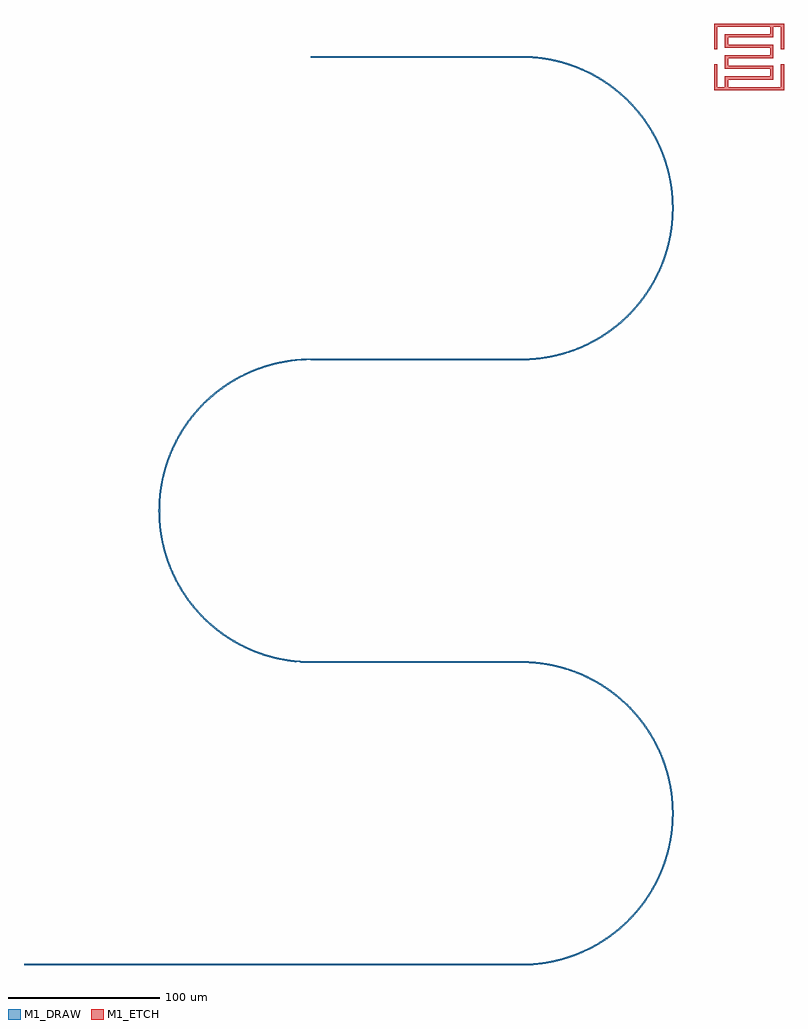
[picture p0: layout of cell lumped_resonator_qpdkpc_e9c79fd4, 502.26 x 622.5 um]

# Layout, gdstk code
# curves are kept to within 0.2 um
from math import pi, radians
import gdstk
lib = gdstk.Library(unit=1e-6, precision=1e-09)
def R(c, l, rs):  # rectangles x0, y0, x1, y1
    for r in rs: c.add(gdstk.rectangle(r[:2], r[2:], *l))
def P(c, l, *ps):  # polygons
    for p in ps: c.add(gdstk.Polygon(p, *l))
M1_DRAW = (1, 0)
M1_ETCH = (1, 1)

straight_l139p38075_csm_ = lib.new_cell('straight_L139p38075_CSm_7ea7f40c')
R(straight_l139p38075_csm_, M1_DRAW, [(0,-0.5,139.381,0.5)])

bend_circular_csmicrost_ = lib.new_cell('bend_circular_CSmicrost_6683d798')
P(bend_circular_csmicrost_, M1_DRAW, [(0,-0.5),(0,0.5),(5.753,0.666),(11.487,1.165),(16.936,1.952),(22.576,3.095),(27.18,4.284),(31.484,5.612),(39.661,8.746),(43.975,10.745),(48.189,12.948),(52.292,15.349),(56.277,17.944),(59.933,20.575),(63.851,23.689),(67.239,26.657),(70.666,29.953),(73.932,33.409),(77.029,37.017),(80.098,40.97),(82.827,44.864),(85.366,48.884),(87.711,53.02),(89.962,57.49),(91.986,62.068),(93.693,66.505),(95.259,71.259),(96.523,75.842),(97.616,80.727),(98.425,85.412),(99.034,90.38),(99.368,94.872),(99.5,99.875),(99.404,104.378),(99.034,109.62),(98.425,114.588),(97.616,119.273),(96.523,124.158),(95.259,128.741),(93.777,133.259),(92.081,137.701),(90.175,142.057),(88.063,146.317),(85.749,150.471),(83.103,154.719),(80.394,158.626),(77.502,162.4),(74.266,166.218),(70.842,169.869),(67.239,173.343),(63.851,176.311),(59.933,179.425),(56.277,182.056),(52.292,184.651),(48.189,187.052),(43.975,189.255),(39.661,191.254),(31.484,194.388),(27.18,195.716),(22.82,196.848),(17.429,197.962),(11.487,198.835),(5.753,199.334),(0,199.5),(0,200.5),(0.253,200.5),(5.306,200.36),(10.094,199.992),(15.11,199.358),(19.591,198.572),(24.278,197.524),(29.393,196.106),(33.95,194.592),(38.664,192.765),(43.051,190.812),(47.341,188.652),(51.522,186.289),(55.795,183.589),(59.928,180.678),(63.714,177.723),(67.354,174.59),(71.02,171.109),(74.165,167.822),(77.482,164.007),(80.753,159.827),(83.519,155.9),(86.094,151.847),(88.592,147.452),(90.758,143.166),(92.814,138.547),(94.549,134.069),(96.143,129.272),(97.493,124.4),(98.597,119.467),(99.451,114.485),(100.029,109.717),(100.379,104.927),(100.5,99.874),(100.379,95.073),(100.029,90.283),(99.451,85.515),(98.597,80.533),(97.493,75.6),(96.143,70.728),(94.549,65.931),(92.814,61.453),(90.758,56.834),(88.592,52.548),(86.094,48.153),(83.519,44.1),(80.753,40.173),(77.482,35.993),(74.165,32.178),(71.02,28.891),(67.354,25.41),(63.714,22.277),(59.928,19.322),(55.795,16.411),(51.522,13.711),(47.341,11.348),(42.823,9.08),(38.43,7.138),(33.95,5.408),(29.393,3.894),(24.278,2.476),(19.591,1.428),(15.11,0.642),(9.843,-0.017),(5.054,-0.373)])

inductor_qpdkpcellspres_ = lib.new_cell('inductor_qpdkpcellspres_f3f412fe')
inductor_qpdkpcellspres_.add(gdstk.Reference(straight_l139p38075_csm_, (0,0)))
inductor_qpdkpcellspres_.add(gdstk.Reference(bend_circular_csmicrost_, (139.381,0), x_reflection=True))
inductor_qpdkpcellspres_.add(gdstk.Reference(straight_l139p38075_csm_, (139.381,-200), rotation=pi))
inductor_qpdkpcellspres_.add(gdstk.Reference(bend_circular_csmicrost_, (0,-200), rotation=pi))
inductor_qpdkpcellspres_.add(gdstk.Reference(straight_l139p38075_csm_, (0,-400)))
inductor_qpdkpcellspres_.add(gdstk.Reference(bend_circular_csmicrost_, (139.381,-400), x_reflection=True))
inductor_qpdkpcellspres_.add(gdstk.Reference(straight_l139p38075_csm_, (139.381,-600), rotation=pi))
inductor_qpdkpcellspres_.add(gdstk.Reference(straight_l139p38075_csm_, (0,-600), rotation=pi))

interdigital_capacitor__ = lib.new_cell('interdigital_capacitor__7738becc')
P(interdigital_capacitor__, M1_ETCH, [(-23,-22),(-23,-5),(-21,-5),(-21,-20),(-16,-20),(-16,-13),(14,-13),(14,-8),(-16,-8),(-16,1),(14,1),(14,6),(-16,6),(-16,15),(14,15),(14,20),(-21,20),(-21,5),(-23,5),(-23,22),(23,22),(23,5),(21,5),(21,20),(16,20),(16,13),(-14,13),(-14,8),(16,8),(16,-1),(-14,-1),(-14,-6),(16,-6),(16,-15),(-14,-15),(-14,-20),(21,-20),(21,-5),(23,-5),(23,-22)])

straight_l50_csmicrostri = lib.new_cell('straight_L50_CSmicrostrip_narrow')
R(straight_l50_csmicrostri, M1_DRAW, [(0,-0.5,50,0.5)])

lumped_resonator_qpdkpc_ = lib.new_cell('lumped_resonator_qpdkpc_e9c79fd4')
lumped_resonator_qpdkpc_.add(gdstk.Reference(inductor_qpdkpcellspres_, (0,0)))
lumped_resonator_qpdkpc_.add(gdstk.Reference(interdigital_capacitor__, (289.881,0)))
lumped_resonator_qpdkpc_.add(gdstk.Reference(straight_l50_csmicrostri, (-139.381,-600), rotation=pi))

lib.write_gds('lumped_resonator_qpdkpc_e9c79fd4.gds')
